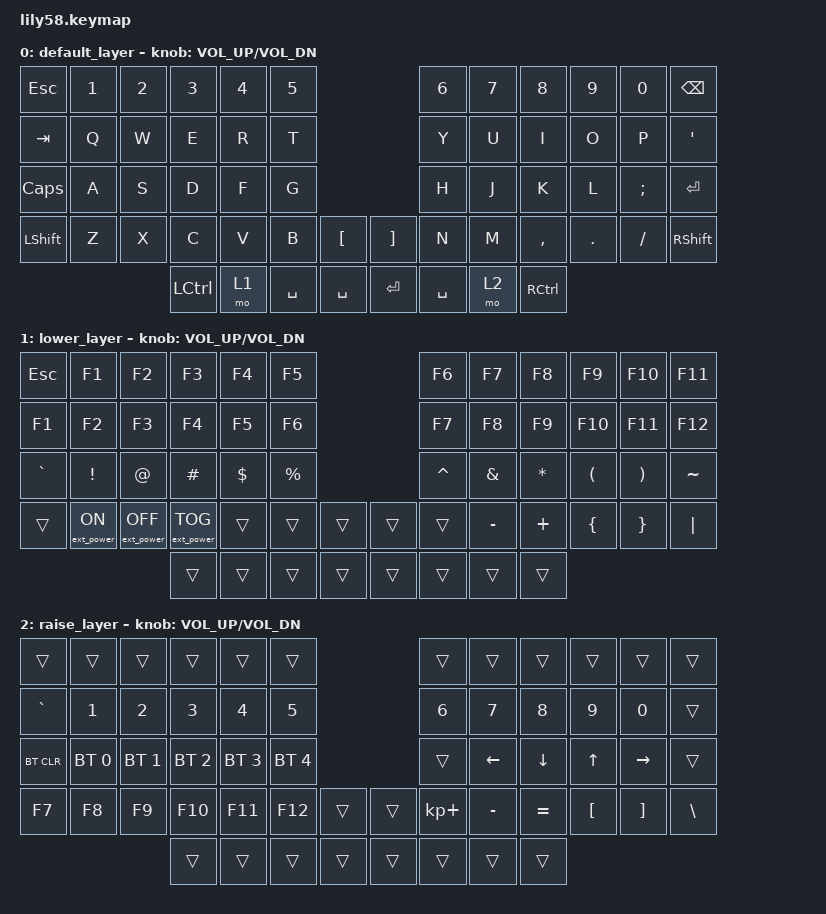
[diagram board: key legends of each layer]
/*
 * Copyright (c) 2020 The ZMK Contributors
 *
 * SPDX-License-Identifier: MIT
 */

#include <behaviors.dtsi>
#include <dt-bindings/zmk/bt.h>
#include <dt-bindings/zmk/ext_power.h>
#include <dt-bindings/zmk/keys.h>

/ {
    keymap {
        compatible = "zmk,keymap";

        default_layer {
            // ------------------------------------------------------------------------------------------------------------
            // |  ESC  |  1  |  2  |  3   |  4   |  5   |                   |  6   |  7    |  8    |  9   |   0   |   BSPC   |
            // |  TAB  |  Q  |  W  |  E   |  R   |  T   |                   |  Y   |  U    |  I    |  O   |   P   |   ENTER  |
            // |  ALT|  A  |  S  |  D   |  F   |  G   |                   |  H   |  J    |  K    |  L   |   ;   |   ALT   |
            // | SHIFT |  Z  |  X  |  C   |  V   |  B   |   "["  |  |  "]"  |  N   |  M    |  ,    |  .   |   /   | SHIFT |
            //                     | LCTRL  | raise_layer  | SPACE|  SPACE |  | ENTER | SPACE| lower_layer  | CTRL   |

            bindings = <
&kp ESC    &kp N1  &kp N2  &kp N3     &kp N4  &kp N5                            &kp N6     &kp N7  &kp N8     &kp N9   &kp N0    &kp BSPC
&kp TAB    &kp Q   &kp W   &kp E      &kp R   &kp T                             &kp Y      &kp U   &kp I      &kp O    &kp P     &kp SQT
&kp CAPS   &kp A   &kp S   &kp D      &kp F   &kp G                             &kp H      &kp J   &kp K      &kp L    &kp SEMI  &kp ENTER
&kp LSHFT  &kp Z   &kp X   &kp C      &kp V   &kp B      &kp LBKT     &kp RBKT  &kp N      &kp M   &kp COMMA  &kp DOT  &kp FSLH  &kp RSHFT
                           &kp LCTRL  &mo 1   &kp SPACE  &kp SPACE    &kp RET   &kp SPACE  &mo 2   &kp RCTRL
            >;

            sensor-bindings = <&inc_dec_kp C_VOL_UP C_VOL_DN>;
        };

        lower_layer {
            // ------------------------------------------------------------------------------------------------------------
            // | BTCLR | BT1 | BT2 |  BT3 |  BT4 |  BT5 |                   |      |       |       |      |       |       |
            // |  F1   |  F2 |  F3 |  F4  |  F5  |  F6  |                   |  F7  |  F8   |  F9   |  F10 |  F11  |  F12  |
            // |   `   |  !  |  @  |  #   |  $   |  %   |                   |  ^   |  &    |  *    |  (   |   )   |   ~   |
            // |       |     |     |      |      |      |        |  |       |      |  _    |  +    |  {   |   }   |  "|"  |
            //                     |      |      |      |        |  |       |      |       |       |

            bindings = <
&kp ESC    &kp F1            &kp F2             &kp F3             &kp F4      &kp F5                       &kp F6     &kp F7     &kp F8     &kp F9    &kp F10   &kp F11
&kp F1     &kp F2            &kp F3             &kp F4             &kp F5      &kp F6                       &kp F7     &kp F8     &kp F9     &kp F10   &kp F11   &kp F12
&kp GRAVE  &kp EXCL          &kp AT             &kp HASH           &kp DOLLAR  &kp PRCNT                    &kp CARET  &kp AMPS   &kp ASTRK  &kp LPAR  &kp RPAR  &kp TILDE
&trans     &ext_power EP_ON  &ext_power EP_OFF  &ext_power EP_TOG  &trans      &trans     &trans    &trans  &trans     &kp MINUS  &kp PLUS   &kp LBRC  &kp RBRC  &kp PIPE
                                                &trans             &trans      &trans     &trans    &trans  &trans     &trans     &trans
            >;

            sensor-bindings = <&inc_dec_kp C_VOL_UP C_VOL_DN>;
        };

        raise_layer {
            // ------------------------------------------------------------------------------------------------------------
            // |       |     |     |      |      |      |                   |      |       |       |      |       |       |
            // |   `   |  1  |  2  |  3   |  4   |  5   |                   |  6   |   7   |   8   |  9   |   0   |       |
            // |   F1  |  F2 |  F3 |  F4  |  F5  |  F6  |                   |      |   <-  |   v   |  ^   |  ->   |       |
            // |   F7  |  F8 |  F9 |  F10 |  F11 |  F12 |        |  |       |  +   |   -   |   =   |  [   |   ]   |   \   |
            //                     |      |      |      |        |  |       |      |       |       |

            bindings = <
&trans      &trans        &trans        &trans        &trans        &trans                          &trans       &trans     &trans     &trans    &trans     &trans
&kp GRAVE   &kp N1        &kp N2        &kp N3        &kp N4        &kp N5                          &kp N6       &kp N7     &kp N8     &kp N9    &kp N0     &trans
&bt BT_CLR  &bt BT_SEL 0  &bt BT_SEL 1  &bt BT_SEL 2  &bt BT_SEL 3  &bt BT_SEL 4                    &trans       &kp LEFT   &kp DOWN   &kp UP    &kp RIGHT  &trans
&kp F7      &kp F8        &kp F9        &kp F10       &kp F11       &kp F12       &trans    &trans  &kp KP_PLUS  &kp MINUS  &kp EQUAL  &kp LBKT  &kp RBKT   &kp BSLH
                                        &trans        &trans        &trans        &trans    &trans  &trans       &trans     &trans
            >;

            sensor-bindings = <&inc_dec_kp C_VOL_UP C_VOL_DN>;
        };
    };
};
